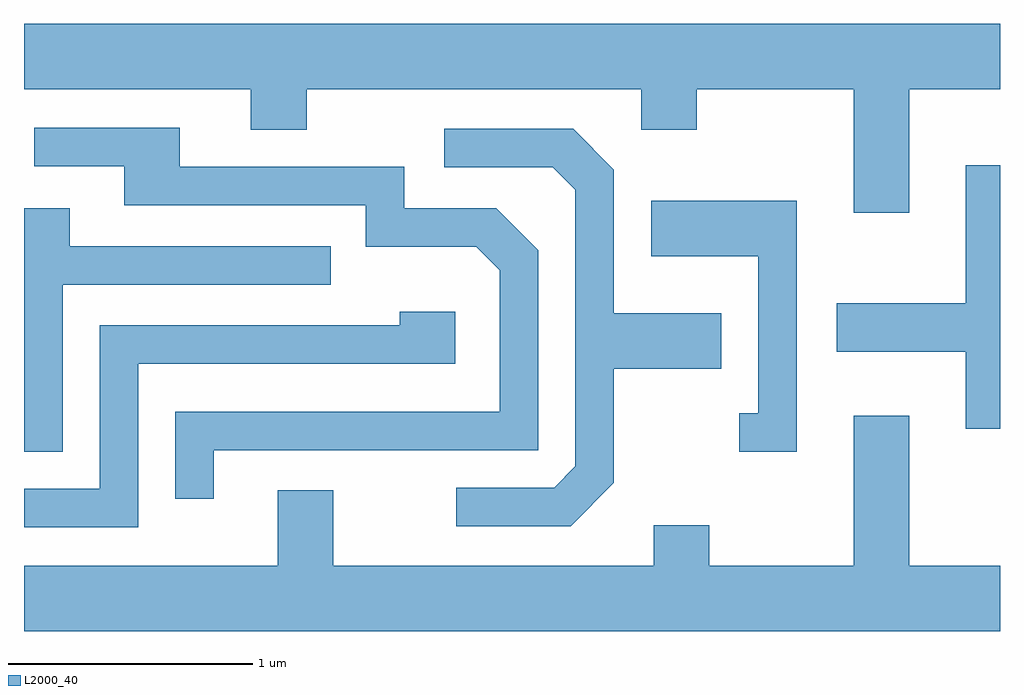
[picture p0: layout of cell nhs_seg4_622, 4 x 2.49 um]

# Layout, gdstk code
import gdstk
lib = gdstk.Library(unit=1e-6, precision=1e-09)
def P(c, l, *ps):  # polygons
    for p in ps: c.add(gdstk.Polygon(p, *l))
L2000_40 = (2000, 40)

nhs_seg4_622 = lib.new_cell('nhs_seg4_622')
P(nhs_seg4_622, L2000_40, [(207.239,1276.976),(207.611,1276.976),(207.611,1277.244),(203.611,1277.244),(203.611,1276.976),(204.541,1276.976),(204.541,1276.811),(204.769,1276.811),(204.769,1276.976),(206.141,1276.976),(206.141,1276.811),(206.369,1276.811),(206.369,1276.976),(207.011,1276.976),(207.011,1276.471),(207.239,1276.471)],
  [(204.389,1275.496),(205.719,1275.496),(205.719,1276.317),(205.547,1276.489),(205.169,1276.489),(205.169,1276.659),(204.249,1276.659),(204.249,1276.819),(203.653,1276.819),(203.653,1276.661),(204.021,1276.661),(204.021,1276.501),(205.011,1276.501),(205.011,1276.331),(205.464,1276.331),(205.561,1276.234),(205.561,1275.654),(204.231,1275.654),(204.231,1275.298),(204.389,1275.298)],
  [(206.029,1275.364),(206.029,1275.831),(206.469,1275.831),(206.469,1276.059),(206.029,1276.059),(206.029,1276.647),(205.862,1276.814),(205.333,1276.814),(205.333,1276.656),(205.779,1276.656),(205.871,1276.564),(205.871,1275.432),(205.784,1275.344),(205.383,1275.344),(205.383,1275.186),(205.852,1275.186)],
  [(207.611,1276.664),(207.471,1276.664),(207.471,1276.099),(206.941,1276.099),(206.941,1275.901),(207.471,1275.901),(207.471,1275.586),(207.611,1275.586)],
  [(206.779,1276.519),(206.181,1276.519),(206.181,1276.291),(206.621,1276.291),(206.621,1275.649),(206.543,1275.649),(206.543,1275.491),(206.779,1275.491)],
  [(203.769,1276.176),(204.868,1276.176),(204.868,1276.334),(203.799,1276.334),(203.799,1276.489),(203.611,1276.489),(203.611,1275.491),(203.769,1275.491)],
  [(204.079,1275.851),(205.379,1275.851),(205.379,1276.064),(205.151,1276.064),(205.151,1276.009),(203.921,1276.009),(203.921,1275.339),(203.611,1275.339),(203.611,1275.181),(204.079,1275.181)],
  [(207.611,1275.024),(207.239,1275.024),(207.239,1275.639),(207.011,1275.639),(207.011,1275.024),(206.419,1275.024),(206.419,1275.189),(206.191,1275.189),(206.191,1275.024),(204.879,1275.024),(204.879,1275.334),(204.651,1275.334),(204.651,1275.024),(203.611,1275.024),(203.611,1274.756),(207.611,1274.756)])

lib.write_gds('nhs_seg4_622.gds')
